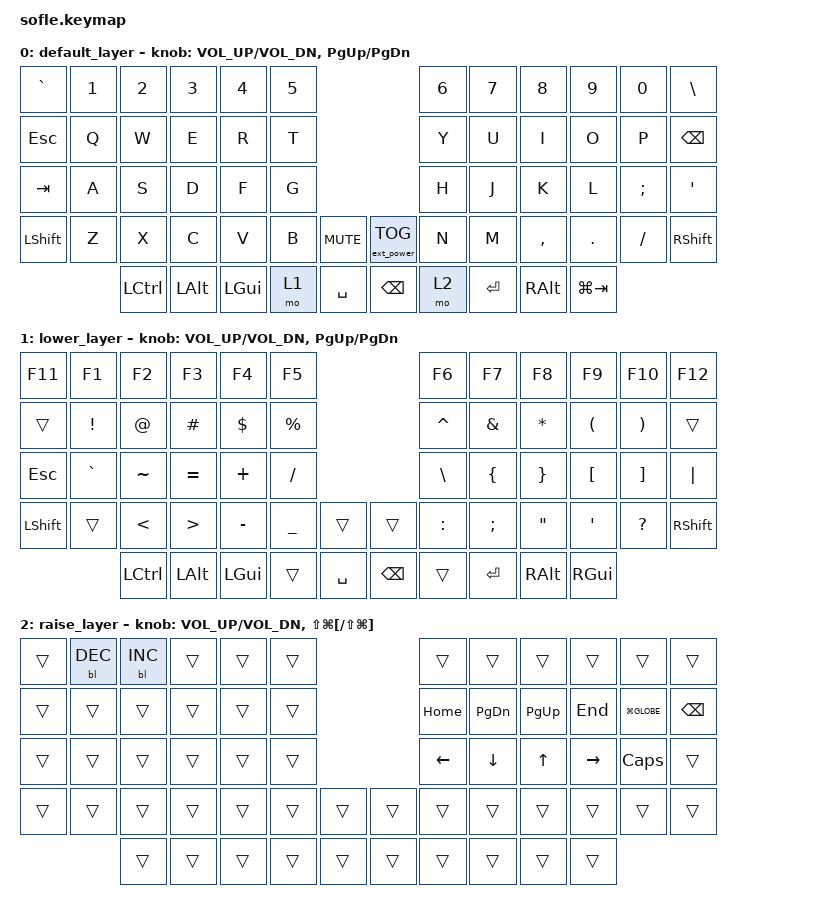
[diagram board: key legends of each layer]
/*
 * Copyright (c) 2020 The ZMK Contributors
 *
 * SPDX-License-Identifier: MIT
 */

#include <behaviors.dtsi>
#include <dt-bindings/zmk/backlight.h>
#include <dt-bindings/zmk/ext_power.h>
#include <dt-bindings/zmk/keys.h>

/ {
    keymap {
        compatible = "zmk,keymap";

        default_layer {
            // ------------------------------------------------------------------------------------------------------------
            // |  `    |  1  |  2  |  3   |  4   |  5   |                         |  6   |  7    |  8    |  9   |   0   |       |
            // |  ESC  |  Q  |  W  |  E   |  R   |  T   |                         |  Y   |  U    |  I    |  O   |   P   | BKSPC |
            // |  TAB  |  A  |  S  |  D   |  F   |  G   |                         |  H   |  J    |  K    |  L   |   ;   |   '   |
            // | SHIFT |  Z  |  X  |  C   |  V   |  B   |  MUTE  |        | ExtPw |  N   |  M    |  ,    |  .   |   /   | SHIFT |
            //               | GUI | ALT  | CTRL | LOWER|  ENTER |        | SPACE | RAISE| CTRL  | ALT   | GUI  |

            bindings = <
&kp GRAVE  &kp N1  &kp N2            &kp N3    &kp N4        &kp N5                                   &kp N6  &kp N7     &kp N8     &kp N9       &kp N0    &kp BACKSLASH
&kp ESC    &kp Q   &kp W             &kp E     &kp R         &kp T                                    &kp Y   &kp U      &kp I      &kp O        &kp P     &kp BSPC
&kp TAB    &kp A   &kp S             &kp D     &kp F         &kp G                                    &kp H   &kp J      &kp K      &kp L        &kp SEMI  &kp SQT
&kp LSHFT  &kp Z   &kp X             &kp C     &kp V         &kp B   &kp C_MUTE    &ext_power EP_TOG  &kp N   &kp M      &kp COMMA  &kp DOT      &kp FSLH  &kp RSHFT
                   &kp LEFT_CONTROL  &kp LALT  &kp LEFT_GUI  &mo 1   &kp SPACE     &kp BACKSPACE      &mo 2   &kp ENTER  &kp RALT   &kp LG(TAB)
            >;

            sensor-bindings = <&inc_dec_kp C_VOL_UP C_VOL_DN &inc_dec_kp PG_UP PG_DN>;
        };

        lower_layer {
            // TODO: Some binds are waiting for shifted keycode support.
            // ------------------------------------------------------------------------------------------------------------
            // |       |  F1 |  F2 |  F3  |  F4  |  F5  |                   |  F6  |  F7   |  F8   |  F9  |  F10  |  F11  |
            // | `     |   1 |   2 |   3  |   4  |   5  |                   |   6  |   7   |   8   |   9  |    0  |  F12  |
            // |       |  !  |  @  |  #   |  $   |  %   |                   |  ^   |  &    |  *    |  (   |   )   |   |   |
            // |       |  =  |  -  |  +   |  {   |  }   |        |  |       |  [   |  ]    |  ;    |  :   |   \   |       |
            //               |     |      |      |      |        |  |       |      |       |       |      |

            bindings = <
&kp F11         &kp F1           &kp F2            &kp F3            &kp F4        &kp F5                                      &kp F6         &kp F7          &kp F8             &kp F9                &kp F10                &kp F12
&trans          &kp EXCLAMATION  &kp AT            &kp HASH          &kp DOLLAR    &kp PERCENT                                 &kp CARET      &kp AMPERSAND   &kp ASTERISK       &kp LEFT_PARENTHESIS  &kp RIGHT_PARENTHESIS  &trans
&kp ESCAPE      &kp GRAVE        &kp TILDE         &kp EQUAL         &kp PLUS      &kp SLASH                                   &kp BACKSLASH  &kp LEFT_BRACE  &kp RIGHT_BRACE    &kp LEFT_BRACKET      &kp RIGHT_BRACKET      &kp PIPE
&kp LEFT_SHIFT  &trans           &kp LESS_THAN     &kp GREATER_THAN  &kp MINUS     &kp UNDERSCORE  &trans       &trans         &kp COLON      &kp SEMICOLON   &kp DOUBLE_QUOTES  &kp SINGLE_QUOTE      &kp QUESTION           &kp RIGHT_SHIFT
                                 &kp LEFT_CONTROL  &kp LEFT_ALT      &kp LEFT_GUI  &trans          &kp SPACE    &kp BACKSPACE  &trans         &kp ENTER       &kp RIGHT_ALT      &kp RIGHT_GUI
            >;

            sensor-bindings = <&inc_dec_kp C_VOL_UP C_VOL_DN &inc_dec_kp PG_UP PG_DN>;
        };

        raise_layer {
            // ------------------------------------------------------------------------------------------------------------
            // |BTCLR| BT1  | BT2  |  BT3  |  BT4  |  BT5 |                |      |      |       |      |       |       |
            // |     | INS  | PSCR | GUI   |       |      |                | PGUP |      |   ^   |      |       |       |
            // |     | ALT  | CTRL | SHIFT |       | CAPS |                | PGDN |   <- |   v   |  ->  |  DEL  | BKSPC |
            // |     | UNDO | CUT  | COPY  | PASTE |      |      |  |      |      |      |       |      |       |       |
            //              |      |       |       |      |      |  |      |      |      |       |      |

            bindings = <
&trans  &bl BL_DEC  &bl BL_INC  &trans  &trans  &trans                    &trans    &trans         &trans        &trans     &trans         &trans
&trans  &trans      &trans      &trans  &trans  &trans                    &kp HOME  &kp PAGE_DOWN  &kp PAGE_UP   &kp END    &kp LG(GLOBE)  &kp BACKSPACE
&trans  &trans      &trans      &trans  &trans  &trans                    &kp LEFT  &kp DOWN       &kp UP_ARROW  &kp RIGHT  &kp CAPSLOCK   &trans
&trans  &trans      &trans      &trans  &trans  &trans  &trans    &trans  &trans    &trans         &trans        &trans     &trans         &trans
                    &trans      &trans  &trans  &trans  &trans    &trans  &trans    &trans         &trans        &trans
            >;

            sensor-bindings =
                <&inc_dec_kp C_VOL_UP C_VOL_DN>,
                <&inc_dec_kp LS(LG(LEFT_BRACKET)) LS(LG(RIGHT_BRACKET))>;
        };
    };
};
